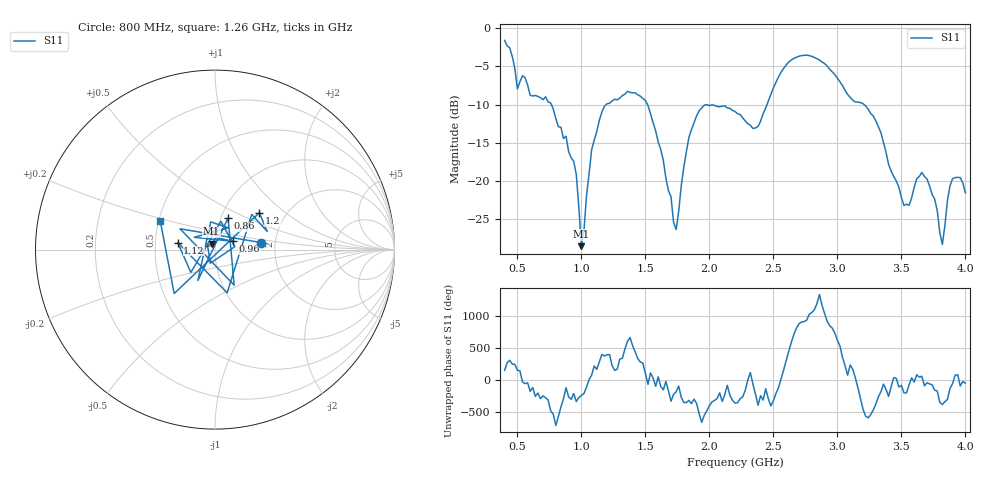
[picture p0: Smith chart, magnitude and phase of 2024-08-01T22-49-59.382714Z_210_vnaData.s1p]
!Created with skrf (http://scikit-rf.org).
# Hz S RI R 50.0
!freq ReS11 ImS11
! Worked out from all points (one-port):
!   181 points, 400 MHz to 4 GHz, reference 50 ohm
!   lowest |S11| = -28.5 dB at 1 GHz (marker M1), VSWR 1.08, Z = 48 + j3.09 ohm
!   |S11| at or under -10 dB: 1.517 GHz to 1.976 GHz (458.6 MHz wide, 26.3 % of centre); 1.983 GHz to 2.45 GHz (467.1 MHz wide, 21.1 % of centre); 3.21 GHz to end of sweep (the widest 3 of 4)
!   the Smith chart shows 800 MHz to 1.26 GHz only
!   S11 on the Smith chart (normalised r, x): 800 MHz: 1.67, +0.14; 860 MHz: 1.08, +0.39; 960 MHz: 1.22, +0.11; 1.12 GHz: 0.65, +0.05; 1.2 GHz: 1.47, +0.67; 1.26 GHz: 0.51, +0.18
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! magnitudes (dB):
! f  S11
! 400 MHz  -1.6
! 500 MHz  -7.9
! 800 MHz  -11.8
! 860 MHz  -14.4
! 960 MHz  -19.1
! 1 GHz  -28.5
! 1.08 GHz  -15.9
! 1.12 GHz  -13.5
! 1.2 GHz  -9.9
! 1.26 GHz  -9.3
! 1.3 GHz  -9.1
! 1.5 GHz  -9.5
! 1.64 GHz  -17.3
! 1.72 GHz  -25.4
! 1.76 GHz  -24.0
! 1.84 GHz  -14.3
! 1.92 GHz  -10.8
! 2.2 GHz  -10.9
! 2.38 GHz  -12.8
! 2.66 GHz  -3.9
! 3.1 GHz  -9.0
! 3.3 GHz  -12.1
! 3.56 GHz  -23.2
! 3.66 GHz  -18.9
! 3.76 GHz  -22.3
! 3.82 GHz  -28.3
! 3.9 GHz  -19.7
! 4 GHz  -21.5
